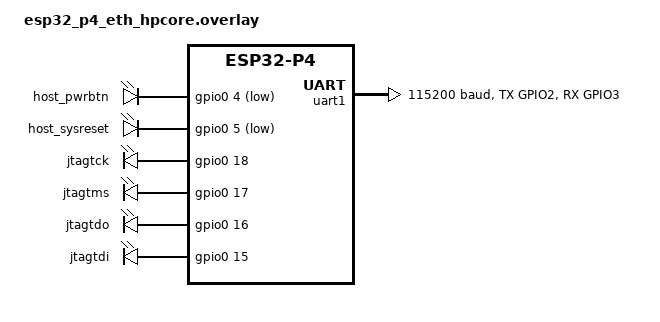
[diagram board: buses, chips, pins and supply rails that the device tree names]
/* SPDX-License-Identifier: Apache-2.0 */

/*
 * WallaBMC application overlay for the Waveshare ESP32-P4-ETH.
 *
 * The board DTS delegates to the in-tree ESP32-P4 Function EV Board.
 * This overlay adjusts the console to UART0, wires the host serial
 * bridge to UART1 (TX=GPIO2, RX=GPIO3) and brings out host power and
 * reset controls.
 *
 * Host-control pin placeholders below are chosen to avoid Ethernet,
 * JTAG and UART1 pins; validate against the target wiring harness.
 */

#include <zephyr/dt-bindings/gpio/gpio.h>
#include <zephyr/dt-bindings/pinctrl/esp-pinctrl-common.h>
#include <zephyr/dt-bindings/pinctrl/esp32p4-pinctrl.h>
#include <zephyr/dt-bindings/pinctrl/esp32p4-gpio-sigmap.h>

/ {
	chosen {
		zephyr,console = &uart0;
		zephyr,shell-uart = &uart0;
	};

	aliases {
		host-console-uart = &uart1;
		jtagtck = &jtagtck;
		jtagtms = &jtagtms;
		jtagtdi = &jtagtdi;
		jtagtdo = &jtagtdo;
		power-gpio-1 = &host_pwrbtn;
		reset-gpio-1 = &host_sysreset;
	};

	host_power {
		compatible = "gpio-leds";

		/*
		 * Open-drain active-low signals: the BMC only sinks current and
		 * lets the host motherboard provide the pull-up.
		 */
		host_pwrbtn: host_pwrbtn {
			gpios = <&gpio0 4 (GPIO_ACTIVE_LOW | GPIO_OPEN_DRAIN | GPIO_PULL_UP)>;
		};
		host_sysreset: host_sysreset {
			gpios = <&gpio0 5 (GPIO_ACTIVE_LOW | GPIO_OPEN_DRAIN | GPIO_PULL_UP)>;
		};
	};

	jtag {
		compatible = "gpio-leds";

		jtagtck: jtag_tck {
			gpios = <&gpio0 18 GPIO_ACTIVE_HIGH>;
		};
		jtagtms: jtag_tms {
			gpios = <&gpio0 17 GPIO_ACTIVE_HIGH>;
		};
		jtagtdo: jtag_tdo {
			gpios = <&gpio0 16 GPIO_PULL_UP>;
		};
		jtagtdi: jtag_tdi {
			gpios = <&gpio0 15 GPIO_ACTIVE_HIGH>;
		};
	};
};

&pinctrl {
	uart1_default: uart1_default {
		group1 {
			pinmux = <UART1_TX_GPIO2>;
			output-high;
			drive-push-pull;
		};
		group2 {
			pinmux = <UART1_RX_GPIO3>;
			bias-pull-up;
		};
	};
};

&uart1 {
	status = "okay";
	current-speed = <115200>;
	pinctrl-0 = <&uart1_default>;
	pinctrl-names = "default";
};
